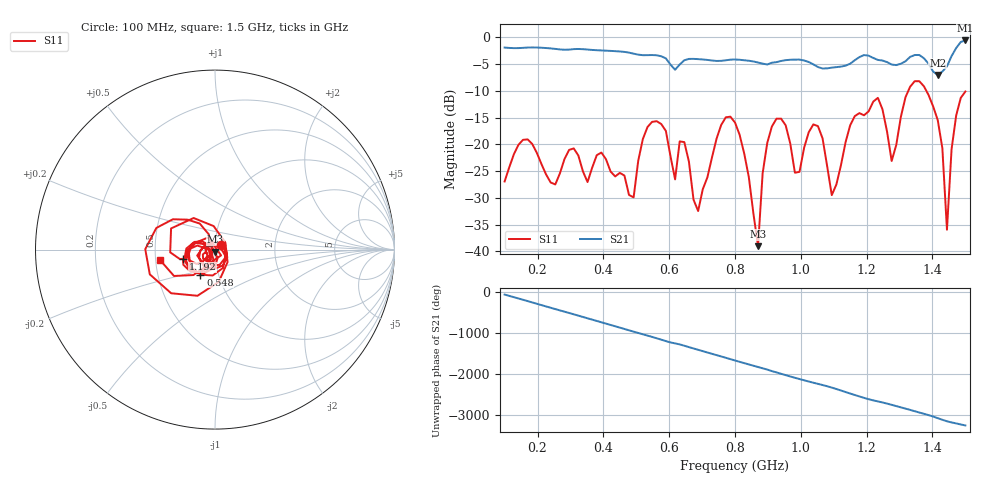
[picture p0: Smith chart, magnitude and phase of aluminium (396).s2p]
! NanoVNA-App
! Date: 2025-09-25 14:58:22
! Start: 100MHz Stop: 1,5GHz Points: 101
! S-Parameter data: F S11 S21 S12 S22
# Hz S RI R 50
!  Frequency  S11_Real  S11_Imag  S21_Real  S21_Imag  S12_Real  S12_Imag  S22_Real  S22_Imag
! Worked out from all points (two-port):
!   101 points, 100 MHz to 1.5 GHz, reference 50 ohm
!   highest |S21| = -0.59 dB at 1.5 GHz (marker M1); lowest = -7.0 dB at 1.416 GHz (marker M2)
!   |S21| within 3 dB of the highest: start of sweep to 577.5 MHz; 1.457 GHz to end of sweep (the widest 2 of 4)
!   lowest |S11| = -39.0 dB at 870 MHz (marker M3), VSWR 1.02, Z = 50.2 - j1.11 ohm
!   |S11| at or under -10 dB: start of sweep to 1.327 GHz; 1.381 GHz to end of sweep
!   S12 and S22 are empty: the file has one direction only
!   S11 on the Smith chart (normalised r, x): 100 MHz: 1.07, +0.06; 548 MHz: 0.82, -0.24; 1.192 GHz: 0.69, -0.07; 1.5 GHz: 0.53, -0.07
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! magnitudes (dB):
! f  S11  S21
! 100 MHz  -27.0  -1.9
! 156 MHz  -19.2  -2.0
! 338 MHz  -25.1  -2.2
! 492 MHz  -29.9  -3.1
! 548 MHz  -15.8  -3.3
! 576 MHz  -16.2  -3.6
! 646 MHz  -19.6  -4.3
! 688 MHz  -32.5  -4.1
! 800 MHz  -15.9  -4.2
! 870 MHz  -39.0  -4.7
! 912 MHz  -16.7  -4.8
! 982 MHz  -25.3  -4.2
! 1.038 GHz  -16.3  -5.1
! 1.094 GHz  -29.5  -5.7
! 1.192 GHz  -14.6  -3.3
! 1.234 GHz  -11.3  -4.2
! 1.276 GHz  -23.1  -5.1
! 1.346 GHz  -8.2  -3.3
! 1.416 GHz  -15.5  -7.0
! 1.444 GHz  -36.0  -5.4
! 1.458 GHz  -20.9  -3.5
! 1.5 GHz  -10.1  -0.6
